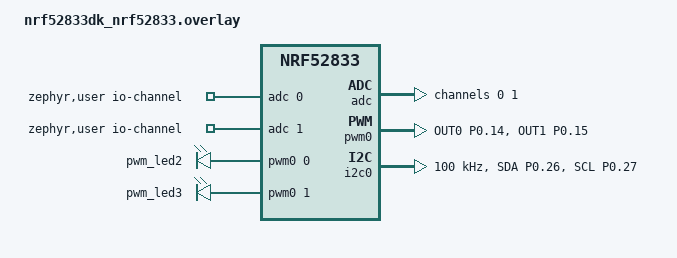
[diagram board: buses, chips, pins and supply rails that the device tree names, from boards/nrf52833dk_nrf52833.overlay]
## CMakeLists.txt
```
# SPDX-License-Identifier: Apache-2.0

cmake_minimum_required(VERSION 3.20.0)
find_package(Zephyr REQUIRED HINTS $ENV{ZEPHYR_BASE})

if(NOT DEFINED NCS_VERSION_MAJOR OR "${NCS_VERSION_MAJOR}.${NCS_VERSION_MINOR}" VERSION_LESS "3.2")
  message(FATAL_ERROR "nRF Connect SDK >= 3.2 is required (found: ${NCS_VERSION})")
endif()

project(duke-bme554-ecg-temp-ble-lab)

set(NO_BUILD_TYPE_WARNING TRUE)

# make sure to add the source code for new libraries
target_sources(app PRIVATE
    src/main.c
    src/calc_freq.c
    src/ble-lib.c
)
```

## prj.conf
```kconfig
CONFIG_LOG=y
# CONFIG_LOG_MODE_DEFERRED=y
CONFIG_MAIN_STACK_SIZE=4096

CONFIG_SMF=y
CONFIG_EVENTS=y
CONFIG_ADC=y
CONFIG_ADC_ASYNC=y
CONFIG_PWM=y
CONFIG_I2C=y

CONFIG_DEBUG_OPTIMIZATIONS=y
CONFIG_DEBUG_THREAD_INFO=y

# BLE
CONFIG_BT=y
CONFIG_BT_PERIPHERAL=y
CONFIG_BT_DEVICE_NAME="Nikhil Methi"
CONFIG_BT_DEVICE_APPEARANCE=0
CONFIG_BT_MAX_CONN=1
CONFIG_BT_LL_SOFTDEVICE=y
CONFIG_BT_BAS=y 
CONFIG_BT_HRS=y
CONFIG_BT_SETTINGS=y
CONFIG_SETTINGS_RUNTIME=y
CONFIG_SETTINGS=y
CONFIG_FLASH=y
CONFIG_FLASH_MAP=y
CONFIG_NVS=y
CONFIG_MPU_ALLOW_FLASH_WRITE=y


# DIS (Device Information Service)
CONFIG_BT_DIS=y
CONFIG_BT_DIS_SETTINGS=y
CONFIG_BT_DIS_STR_MAX=25
CONFIG_BT_DIS_MODEL="Nikhil Methi"
CONFIG_BT_DIS_MANUF="Duke"
CONFIG_BT_DIS_SERIAL_NUMBER=y
CONFIG_BT_DIS_SERIAL_NUMBER_STR="0001"
CONFIG_BT_DIS_FW_REV=y
CONFIG_BT_DIS_FW_REV_STR="1.0.0" 
CONFIG_BT_DIS_HW_REV=y
CONFIG_BT_DIS_HW_REV_STR="1.0.0"
CONFIG_BT_DIS_SW_REV=y
CONFIG_BT_DIS_SW_REV_STR="1.0.0"
CONFIG_BT_DIS_PNP=y
CONFIG_BT_DIS_PNP_VID_SRC=1
CONFIG_BT_DIS_PNP_VID=0x01FF

CONFIG_FPU=y
CONFIG_CBPRINTF_FP_SUPPORT=y
```

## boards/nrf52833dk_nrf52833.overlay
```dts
/ {
	zephyr,user {
		io-channels = <&adc 0>, <&adc 1>;
	};

	aliases {
		heartbeat = &led0;
		ivpump = &led1;
		buzzer = &led2;
		error = &led3;

		/* FIXED BUTTON MAPPING */
		button0-idle = &button0;
		button1-temp = &button1;
		button2-ecg = &button2;
		button3-reset = &button3;

		vadc-single = &vadc_single;
		vadc-diff   = &vadc_diff;

		pwm-led2 = &pwm_led2;
		pwm-led3 = &pwm_led3;
	};

	pwmleds {
		compatible = "pwm-leds";

		pwm_led2: pwm_led2 {
			pwms = <&pwm0 0 PWM_USEC(1000) PWM_POLARITY_INVERTED>;
		};

		pwm_led3: pwm_led3 {
			pwms = <&pwm0 1 PWM_USEC(1000) PWM_POLARITY_INVERTED>;
		};
	};
};

&adc {
	#address-cells = <1>;
	#size-cells = <0>;
	status = "okay";

	vadc_single: channel@0 {
		reg = <0>;
		zephyr,reference = "ADC_REF_INTERNAL";
		zephyr,gain = "ADC_GAIN_1_5";
		zephyr,acquisition-time = <ADC_ACQ_TIME_DEFAULT>;
		zephyr,input-positive = <NRF_SAADC_AIN0>;
		zephyr,resolution = <12>;
	};

	vadc_diff: channel@1 {
		reg = <1>;
		zephyr,reference = "ADC_REF_INTERNAL";
		zephyr,gain = "ADC_GAIN_1_5";
		zephyr,acquisition-time = <ADC_ACQ_TIME(ADC_ACQ_TIME_MICROSECONDS, 40)>;
		zephyr,input-positive = <NRF_SAADC_AIN1>;
		zephyr,input-negative = <NRF_SAADC_AIN2>;
		zephyr,resolution = <12>;
	};
};

&pwm0 {
	status = "okay";
	pinctrl-0 = <&pwm0_default>;
	pinctrl-1 = <&pwm0_sleep>;
	pinctrl-names = "default", "sleep";
};

&pinctrl {
	pwm0_default: pwm0_default {
		group1 {
			psels = <NRF_PSEL(PWM_OUT0, 0, 14)>,
				<NRF_PSEL(PWM_OUT1, 0, 15)>;
		};
	};

	pwm0_sleep: pwm0_sleep {
		group1 {
			psels = <NRF_PSEL(PWM_OUT0, 0, 14)>,
				<NRF_PSEL(PWM_OUT1, 0, 15)>;
			low-power-enable;
		};
	};
};

&i2c0 {
    status = "okay";
    clock-frequency = <I2C_BITRATE_STANDARD>;
    pinctrl-0 = <&i2c0_default>;
    pinctrl-1 = <&i2c0_sleep>;
    pinctrl-names = "default", "sleep";
};

&pinctrl {
    /* existing pwm0 blocks stay here, just add i2c0 below */

    i2c0_default: i2c0_default {
        group1 {
            psels = <NRF_PSEL(TWIM_SDA, 0, 26)>,
                    <NRF_PSEL(TWIM_SCL, 0, 27)>;
            bias-pull-up;
        };
    };

    i2c0_sleep: i2c0_sleep {
        group1 {
            psels = <NRF_PSEL(TWIM_SDA, 0, 26)>,
                    <NRF_PSEL(TWIM_SCL, 0, 27)>;
            low-power-enable;
        };
    };
};
```

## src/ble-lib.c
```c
#include "ble-lib.h"

LOG_MODULE_REGISTER(blelib, LOG_LEVEL_DBG);

// define a semaphore to make sure that bt_init_ok() completes before proceeding
// this is probably overkill, but it's a good practice
static K_SEM_DEFINE(bt_init_ok, 1, 1);

#define DEVICE_NAME CONFIG_BT_DEVICE_NAME
#define DEVICE_NAME_LEN (sizeof(DEVICE_NAME)-1)

// extern means this is defined elsewhere (in this case, main.c)
extern int32_t temperature_degC;  // temperature data characteristic will read from this variable
extern struct k_event errors; // errors characteristic will read from this variable

enum bt_data_notifications_enabled notifications_enabled;

/* Advertising data */
static const struct bt_data ad[] = {
    BT_DATA_BYTES(BT_DATA_FLAGS, (BT_LE_AD_GENERAL | BT_LE_AD_NO_BREDR)),
    BT_DATA(BT_DATA_NAME_COMPLETE, DEVICE_NAME, DEVICE_NAME_LEN)
};

/* Scan response data */
static const struct bt_data sd[] = {
    BT_DATA_BYTES(BT_DATA_UUID128_ALL, BT_UUID_REMOTE_SERV_VAL), 
};

/* UUID of the Remote Service */
// Project ID: 065 (3rd entry)
// BLE MFG ID = 0x02DF (4th entry)
/*  UUID of Data Characteristic  */
struct bt_uuid_128 remote_temperature_data_uuid = BT_UUID_INIT_128(
    BT_UUID_128_ENCODE(0xe9ea0001, 0xe19b, 0x0065, 0x02DF, 0xc7907585fc48));
/*  UUID of Errors Characteristic  */
struct bt_uuid_128 remote_err_uuid = BT_UUID_INIT_128(
    BT_UUID_128_ENCODE(0xe9ea0002, 0xe19b, 0x0065, 0x02DF, 0xc7907585fc48));
/*  UUID of Message Characteristic   */
struct bt_uuid_128 remote_msg_uuid = BT_UUID_INIT_128(
    BT_UUID_128_ENCODE(0xe9ea0003, 0xe19b, 0x0065, 0x02DF, 0xc7907585fc48));

/* Setup services */
BT_GATT_SERVICE_DEFINE(remote_srv,
    BT_GATT_PRIMARY_SERVICE(BT_UUID_REMOTE_SERVICE),
    BT_GATT_CHARACTERISTIC(&remote_temperature_data_uuid.uuid,
                    BT_GATT_CHRC_READ | BT_GATT_CHRC_NOTIFY,
                    BT_GATT_PERM_READ,
                    read_temperature_data_cb, NULL, NULL),
    BT_GATT_CCC(ccc_cfg_changed_cb, BT_GATT_PERM_READ | BT_GATT_PERM_WRITE),
    BT_GATT_CHARACTERISTIC(&remote_err_uuid.uuid,
                    BT_GATT_CHRC_READ | BT_GATT_CHRC_NOTIFY,
                    BT_GATT_PERM_WRITE | BT_GATT_PERM_READ,
                    read_error_cb, NULL, NULL),
    BT_GATT_CCC(ccc_cfg_changed_cb, BT_GATT_PERM_READ | BT_GATT_PERM_WRITE),
    BT_GATT_CHARACTERISTIC(&remote_msg_uuid.uuid,
                    BT_GATT_CHRC_WRITE_WITHOUT_RESP,
                    BT_GATT_PERM_WRITE,
                    NULL, on_write, NULL),
    BT_GATT_CCC(ccc_cfg_changed_cb, BT_GATT_PERM_READ | BT_GATT_PERM_WRITE),
);

struct bt_conn *current_conn;
struct bt_conn_cb bluetooth_callbacks = {
    .connected = on_connected,
    .disconnected = on_disconnected,
};

struct bt_remote_srv_cb remote_service_callbacks = {
    .notif_changed = on_notif_changed,
    .data_rx = on_data_rx,
};

/* Callbacks */
void on_data_rx(struct bt_conn *conn, const uint8_t *const data, uint16_t len) {
    // copy the data to a temporary buffer and append a NULL character
    uint8_t temp_str[len+1];
    memcpy(temp_str, data, len);
    temp_str[len] = 0x00;  // append NULL character at the end
    LOG_INF("BT received data on conn %p. Len: %d", (void *)conn, len);
    LOG_INF("Data: %s", temp_str);
}

void on_connected(struct bt_conn *conn, uint8_t ret) {
    if (ret) {
        LOG_ERR("Connection error: %d", ret);
        return;
    }
    LOG_INF("BT connected");
    current_conn = bt_conn_ref(conn);
}

void on_disconnected(struct bt_conn *conn, uint8_t reason) {
    LOG_INF("BT disconnected (reason: %d)", reason);
    if (current_conn) {
        bt_conn_unref(current_conn);
        current_conn = NULL;
    }
}

void on_notif_changed(enum bt_data_notifications_enabled status) {
    if (status == BT_DATA_NOTIFICATIONS_ENABLED) {
        LOG_INF("BT notifications enabled");
    } else {
        LOG_INF("BT notifications disabled");
    }
}

void ccc_cfg_changed_cb(const struct bt_gatt_attr *attr, uint16_t value) {
    bool notif_enabled = (value == BT_GATT_CCC_NOTIFY);
    LOG_INF("Notifications: %s", notif_enabled? "enabled":"disabled");
    notifications_enabled = notif_enabled? BT_DATA_NOTIFICATIONS_ENABLED:BT_DATA_NOTIFICATIONS_DISABLED;
    if (remote_service_callbacks.notif_changed) {
        remote_service_callbacks.notif_changed(notifications_enabled);
    }
}

/* These callbacks are used when a read request is made to the remote service */
ssize_t read_temperature_data_cb(struct bt_conn *conn, const struct bt_gatt_attr *attr, void *buf, uint16_t len, uint16_t offset) {
    return bt_gatt_attr_read(conn, attr, buf, len, offset, &temperature_degC, sizeof(temperature_degC));
}

ssize_t read_error_cb(struct bt_conn *conn, const struct bt_gatt_attr *attr, void *buf, uint16_t len, uint16_t offset) {
    return bt_gatt_attr_read(conn, attr, buf, len, offset, &errors.events, sizeof(errors.events));
}

ssize_t on_write(struct bt_conn *conn, const struct bt_gatt_attr *attr, const void *buf, uint16_t len, uint16_t offset, uint8_t flags) {
    LOG_INF("Received data, handle %d, conn %p", attr->handle, (void *)conn);
    
    if (remote_service_callbacks.data_rx) {
        remote_service_callbacks.data_rx(conn, buf, len);
    }
    return len;
}


void on_sent(struct bt_conn *conn, void *user_data) {
    ARG_UNUSED(user_data);
    LOG_INF("Notification sent on connection %p", (void *)conn);
}

void bt_ready(int ret) {
    if (ret) {
        LOG_ERR("bt_enable returned %d", ret);
    }
    // release the thread once initialized
    k_sem_give(&bt_init_ok);
}

int bluetooth_init(struct bt_conn_cb *bt_cb, struct bt_remote_srv_cb *remote_cb) {
    LOG_INF("Initializing Bluetooth");
    if ((bt_cb == NULL) | (remote_cb == NULL)) {
        LOG_ERR("Invalid callback(s)");
        return -NRFX_ERROR_NULL;
    }
    bt_conn_cb_register(bt_cb);
    remote_service_callbacks.notif_changed = remote_cb->notif_changed;
    remote_service_callbacks.data_rx = remote_cb->data_rx;
    int ret = bt_enable(bt_ready);
    if (ret) {
        LOG_ERR("bt_enable returned %d", ret);
        return ret;
    }

    // hold the thread until Bluetooth is initialized
    k_sem_take(&bt_init_ok, K_FOREVER);
    if (IS_ENABLED(CONFIG_BT_SETTINGS)) {
        settings_load();
    }

    ret = bt_le_adv_start(BT_LE_ADV_CONN_FAST_2, ad, ARRAY_SIZE(ad), sd, ARRAY_SIZE(sd));
    if (ret) {
        LOG_ERR("Could not start advertising (ret = %d)", ret);
        return ret;
    }
    return ret;
}

/* BAS Functions */
uint8_t bluetooth_get_battery_level(void) {
    uint8_t battery_level;
    battery_level =  bt_bas_get_battery_level();
    LOG_INF("Battery Level: %d pct", battery_level);
    return battery_level;
}

void bluetooth_set_battery_level(int32_t raw_mV) {
    LOG_DBG("Raw Battery: %d mV", raw_mV);
    
    float normalized_level = (float) 100 * raw_mV / NOMINAL_BATTERY_VOLT_MV;
    
    LOG_INF("Normalized Battery Level: %lf", (double)normalized_level);
    int err = bt_bas_set_battery_level((int)normalized_level);
    if (err) {
        LOG_ERR("BAS set error (err = %d)", err);
    }
}

/* Use BT_GATT_ATTR_FIND_BY_UUID for robust lookups, or define
 * stable pointers directly from the service table.
 * The safest portable approach is to cache attr pointers at
 * service definition time via BT_GATT_CHARACTERISTIC macros.
 * Here we use symbolic offsets matching the service definition:
 *
 *   attrs[0]  = primary service
 *   attrs[1]  = temperature characteristic declaration
 *   attrs[2]  = temperature characteristic value      <-- notify here
 *   attrs[3]  = temperature CCC
 *   attrs[4]  = error characteristic declaration
 *   attrs[5]  = error characteristic value            <-- notify here
 *   attrs[6]  = error CCC
 *   attrs[7]  = message characteristic declaration
 *   attrs[8]  = message characteristic value
 *   attrs[9]  = message CCC
 */
#define REMOTE_SRV_TEMP_ATTR_IDX   2
#define REMOTE_SRV_ERR_ATTR_IDX    5

void ble_notify_temperature(void)
{
    if (notifications_enabled != BT_DATA_NOTIFICATIONS_ENABLED || !current_conn) {
        return;
    }

    int ret = bt_gatt_notify(current_conn,
                             &remote_srv.attrs[REMOTE_SRV_TEMP_ATTR_IDX],
                             &temperature_degC,
                             sizeof(temperature_degC));
    if (ret < 0) {
        LOG_WRN("Temperature notify failed (%d)", ret);
    }
}

void ble_notify_error(void)
{
    if (notifications_enabled != BT_DATA_NOTIFICATIONS_ENABLED || !current_conn) {
        return;
    }

    int ret = bt_gatt_notify(current_conn,
                             &remote_srv.attrs[REMOTE_SRV_ERR_ATTR_IDX],
                             &errors.events,
                             sizeof(errors.events));
    if (ret < 0) {
        LOG_WRN("Error notify failed (%d)", ret);
    }
}
```

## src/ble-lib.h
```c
#ifndef BLE_LIB_H
#define BLE_LIB_H

#include <zephyr/kernel.h>
#include <zephyr/device.h>
#include <zephyr/logging/log.h>
#include <zephyr/bluetooth/bluetooth.h>
#include <zephyr/bluetooth/uuid.h>
#include <zephyr/bluetooth/gatt.h>
#include <zephyr/bluetooth/hci.h>
#include <zephyr/settings/settings.h>
#include <zephyr/bluetooth/services/bas.h> // Battery Service
#include <zephyr/bluetooth/services/hrs.h> // Heart Rate Service

/* in ble-lib.h */
#define NOMINAL_BATTERY_VOLT_MV  3000

void ble_notify_temperature(void);
void ble_notify_error(void);

/* UUID of the Remote Service */
// Project ID: 065 (3rd entry)
// MFG ID = 0x02DF (4th entry)
#define BT_UUID_REMOTE_SERV_VAL \
        BT_UUID_128_ENCODE(0xe9ea0000, 0xe19b, 0x0065, 0x02DF, 0xc7907585fc48)

#define BT_UUID_REMOTE_SERVICE          BT_UUID_DECLARE_128(BT_UUID_REMOTE_SERV_VAL)

enum bt_data_notifications_enabled {
    BT_DATA_NOTIFICATIONS_ENABLED,
    BT_DATA_NOTIFICATIONS_DISABLED,
};

struct bt_remote_srv_cb {
    void (*notif_changed)(enum bt_data_notifications_enabled status);
    void (*data_rx)(struct bt_conn *conn, const uint8_t *const data, uint16_t len);
};

int bluetooth_init(struct bt_conn_cb *bt_cb, struct bt_remote_srv_cb *remote_cb);
uint8_t bluetooth_get_battery_level(void);
void bluetooth_set_battery_level(int32_t level);
ssize_t on_write(struct bt_conn *conn, const struct bt_gatt_attr *attr, const void *buf, uint16_t len, uint16_t offset, uint8_t flags);
ssize_t read_temperature_data_cb(struct bt_conn *conn, const struct bt_gatt_attr *attr, void *buf, uint16_t len, uint16_t offset);
ssize_t read_error_cb(struct bt_conn *conn, const struct bt_gatt_attr *attr, void *buf, uint16_t len, uint16_t offset);
void ccc_cfg_changed_cb(const struct bt_gatt_attr *attr, uint16_t value);
void on_connected(struct bt_conn *conn, uint8_t ret);
void on_disconnected(struct bt_conn *conn, uint8_t reason);
void on_data_rx(struct bt_conn *conn, const uint8_t *const data, uint16_t len);
void on_notif_changed(enum bt_data_notifications_enabled status);

extern const struct bt_gatt_attr *attr;
extern struct bt_conn *current_conn;
extern struct bt_conn_cb bluetooth_callbacks;
extern struct bt_remote_srv_cb remote_service_callbacks;
extern struct bt_uuid_128 remote_err_uuid;
extern struct bt_uuid_128 remote_serv_uuid;
extern struct bt_uuid_128 remote_temperature_data_uuid;
extern struct bt_uuid_128 remote_msg_uuid;

#endif
```

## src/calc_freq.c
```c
#include "calc_freq.h"

double calc_freq_zero_crossing(const int16_t *buf, size_t len, double sample_rate_hz)
{
    size_t crossings = 0;
    size_t first_cross = 0;
    size_t last_cross = 0;
    int found_first = 0;

    if (buf == NULL || len < 3 || sample_rate_hz <= 0.0) {
        return -1.0;
    }

    for (size_t i = 1; i < len; i++) {
        if ((buf[i - 1] <= 0 && buf[i] > 0) ||
            (buf[i - 1] >= 0 && buf[i] < 0)) {
            if (!found_first) {
                first_cross = i;
                found_first = 1;
            }
            last_cross = i;
            crossings++;
        }
    }

    if (crossings < 3 || last_cross <= first_cross) {
        return -1.0;
    }

    return ((double)(crossings - 1) * sample_rate_hz) /
           (2.0 * (double)(last_cross - first_cross));
}
```

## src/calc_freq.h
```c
#ifndef CALC_FREQ_H_
#define CALC_FREQ_H_

#include <stddef.h>
#include <stdint.h>

double calc_freq_zero_crossing(const int16_t *buf, size_t len, double sample_rate_hz);

#endif
```
